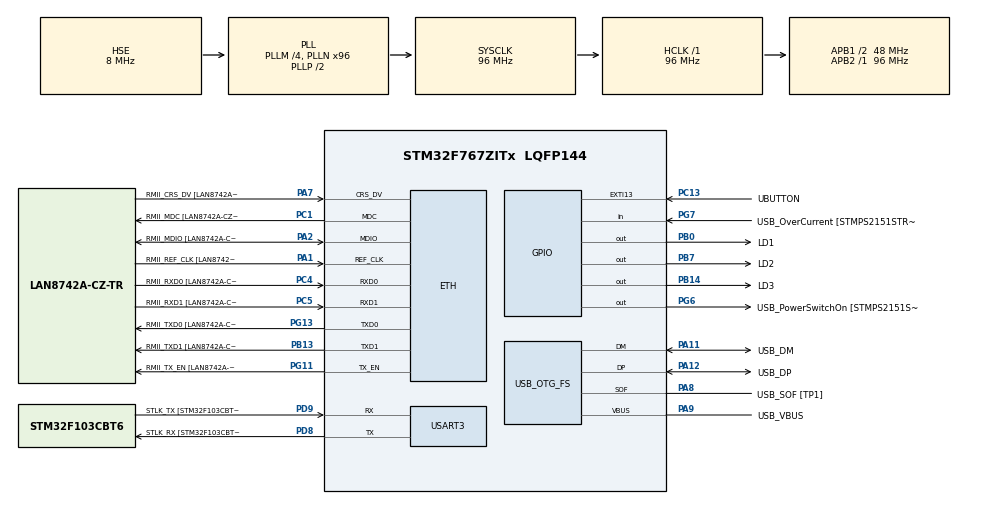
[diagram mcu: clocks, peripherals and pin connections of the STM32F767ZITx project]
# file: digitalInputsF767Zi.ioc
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ETH.MediaInterface=HAL_ETH_RMII_MODE
ETH.PHY_Name=LAN8742A_PHY_ADDRESS
ETH.PHY_Value=0
ETH.PhyAddress=0
Mcu.Family=STM32F7
Mcu.Name=STM32F767ZITx
Mcu.Package=LQFP144
NVIC.PriorityGroup=NVIC_PRIORITYGROUP_4
PA1.GPIO_Label=RMII_REF_CLK [LAN8742A-CZ-TR_REFCLK0]
PA1.Mode=RMII
PA1.Signal=ETH_REF_CLK
PA10.GPIO_Label=USB_ID
PA10.Signal=USB_OTG_FS_ID
PA11.GPIO_Label=USB_DM
PA11.Mode=Device_Only
PA11.Signal=USB_OTG_FS_DM
PA12.GPIO_Label=USB_DP
PA12.Mode=Device_Only
PA12.Signal=USB_OTG_FS_DP
PA13.GPIO_Label=TMS
PA13.Mode=Serial_Wire
PA13.Signal=SYS_JTMS-SWDIO
PA14.GPIO_Label=TCK
PA14.Mode=Serial_Wire
PA14.Signal=SYS_JTCK-SWCLK
PA2.GPIO_Label=RMII_MDIO [LAN8742A-CZ-TR_MDIO]
PA2.Mode=RMII
PA2.Signal=ETH_MDIO
PA7.GPIO_Label=RMII_CRS_DV [LAN8742A-CZ-TR_CRS_DV]
PA7.Mode=RMII
PA7.Signal=ETH_CRS_DV
PA8.GPIO_Label=USB_SOF [TP1]
PA8.Mode=Activate_SOF_FS
PA8.Signal=USB_OTG_FS_SOF
PA9.GPIO_Label=USB_VBUS
PA9.Mode=Activate_VBUS
PA9.Signal=USB_OTG_FS_VBUS
PB0.GPIO_Label=LD1
PB0.Signal=GPIO_Output
PB13.GPIO_Label=RMII_TXD1 [LAN8742A-CZ-TR_TXD1]
PB13.Mode=RMII
PB13.Signal=ETH_TXD1
PB14.GPIO_Label=LD3
PB14.Signal=GPIO_Output
PB3.GPIO_Label=SWO
PB3.Signal=SYS_JTDO-SWO
PB7.GPIO_Label=LD2
PB7.Signal=GPIO_Output
PC1.GPIO_Label=RMII_MDC [LAN8742A-CZ-TR_MDC]
PC1.Mode=RMII
PC1.Signal=ETH_MDC
PC13.GPIO_Label=UBUTTON
PC13.Signal=GPXTI13
PC14/OSC32_IN.Mode=LSE-External-Oscillator
PC14/OSC32_IN.Signal=RCC_OSC32_IN
PC15/OSC32_OUT.Mode=LSE-External-Oscillator
PC15/OSC32_OUT.Signal=RCC_OSC32_OUT
PC4.GPIO_Label=RMII_RXD0 [LAN8742A-CZ-TR_RXD0]
PC4.Mode=RMII
PC4.Signal=ETH_RXD0
PC5.GPIO_Label=RMII_RXD1 [LAN8742A-CZ-TR_RXD1]
PC5.Mode=RMII
PC5.Signal=ETH_RXD1
PD8.GPIO_Label=STLK_RX [STM32F103CBT6_PA3]
PD8.Mode=Asynchronous
PD8.Signal=USART3_TX
PD9.GPIO_Label=STLK_TX [STM32F103CBT6_PA2]
PD9.Mode=Asynchronous
PD9.Signal=USART3_RX
PG11.GPIO_Label=RMII_TX_EN [LAN8742A-CZ-TR_TXEN]
PG11.Mode=RMII
PG11.Signal=ETH_TX_EN
PG13.GPIO_Label=RMII_TXD0 [LAN8742A-CZ-TR_TXD0]
PG13.Mode=RMII
PG13.Signal=ETH_TXD0
PG6.GPIO_Label=USB_PowerSwitchOn [STMPS2151STR_EN]
PG6.Signal=GPIO_Output
PG7.GPIO_Label=USB_OverCurrent [STMPS2151STR_FAULT]
PG7.Signal=GPIO_Input
PH0/OSC_IN.GPIO_Label=MCO [STM32F103CBT6_PA8]
PH0/OSC_IN.Mode=HSE-External-Clock-Source
PH0/OSC_IN.Signal=RCC_OSC_IN
PH1/OSC_OUT.Mode=HSE-External-Clock-Source
PH1/OSC_OUT.Signal=RCC_OSC_OUT
ProjectManager.HeapSize=0x200
ProjectManager.StackSize=0x400
ProjectManager.TargetToolchain=STM32CubeIDE
RCC.48MHZClocksFreq_Value=24000000
RCC.AHBFreq_Value=96000000
RCC.APB1CLKDivider=RCC_HCLK_DIV2
RCC.APB1Freq_Value=48000000
RCC.APB1TimFreq_Value=96000000
RCC.APB2Freq_Value=96000000
RCC.APB2TimFreq_Value=96000000
RCC.CortexFreq_Value=96000000
RCC.HCLKFreq_Value=96000000
RCC.HSE_VALUE=8000000
RCC.HSI_VALUE=16000000
RCC.PLLM=4
RCC.PLLMUL=RCC_PLL_MUL9
RCC.PLLN=96
RCC.PLLQ=4
RCC.PRESCALERUSB=RCC_USBCLKSOURCE_PLL_DIV1_5
RCC.SYSCLKFreq_VALUE=96000000
RCC.SYSCLKSource=RCC_SYSCLKSOURCE_PLLCLK
RCC.SYSCLKSourceVirtual=RCC_SYSCLKSOURCE_PLLCLK
RCC.USBFreq_Value=48000000
RCC.VCOOutputFreq_Value=192000000
USART3.VirtualMode-Asynchronous=VM_ASYNC
USB_OTG_FS.VirtualMode=Device_Only
board=NUCLEO-F767ZI

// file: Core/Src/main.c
/* USER CODE BEGIN Header */
/**
  ******************************************************************************
  * @file           : main.c
  * @brief          : Main program body
  ******************************************************************************
  * @attention
  *
  * Copyright (c) 2025 STMicroelectronics.
  * All rights reserved.
  *
  * This software is licensed under terms that can be found in the LICENSE file
  * in the root directory of this software component.
  * If no LICENSE file comes with this software, it is provided AS-IS.
  *
  ******************************************************************************
  */
/* USER CODE END Header */
#include "main.h"
#include "string.h"

/* USER CODE BEGIN PD */
#define DB_TIME 195
/* USER CODE END PD */

#if defined ( __ICCARM__ ) /*!< IAR Compiler */
#pragma location=0x2007c000
ETH_DMADescTypeDef  DMARxDscrTab[ETH_RX_DESC_CNT]; /* Ethernet Rx DMA Descriptors */
#pragma location=0x2007c0a0
ETH_DMADescTypeDef  DMATxDscrTab[ETH_TX_DESC_CNT]; /* Ethernet Tx DMA Descriptors */

#elif defined ( __CC_ARM )  /* MDK ARM Compiler */

__attribute__((at(0x2007c000))) ETH_DMADescTypeDef  DMARxDscrTab[ETH_RX_DESC_CNT]; /* Ethernet Rx DMA Descriptors */
__attribute__((at(0x2007c0a0))) ETH_DMADescTypeDef  DMATxDscrTab[ETH_TX_DESC_CNT]; /* Ethernet Tx DMA Descriptors */

#elif defined ( __GNUC__ ) /* GNU Compiler */

ETH_DMADescTypeDef DMARxDscrTab[ETH_RX_DESC_CNT] __attribute__((section(".RxDecripSection"))); /* Ethernet Rx DMA Descriptors */
ETH_DMADescTypeDef DMATxDscrTab[ETH_TX_DESC_CNT] __attribute__((section(".TxDecripSection")));   /* Ethernet Tx DMA Descriptors */
#endif

ETH_TxPacketConfig TxConfig;

ETH_HandleTypeDef heth;

UART_HandleTypeDef huart3;

PCD_HandleTypeDef hpcd_USB_OTG_FS;

/* USER CODE BEGIN PV */
uint8_t c=0;
unsigned long lastState=0;
/* USER CODE END PV */

void SystemClock_Config(void);
static void MX_GPIO_Init(void);
static void MX_ETH_Init(void);
static void MX_USART3_UART_Init(void);
static void MX_USB_OTG_FS_PCD_Init(void);
/* USER CODE BEGIN PFP */
void updateLed(uint8_t counter);
/* USER CODE END PFP */

int main(void)
{

  /* MCU Configuration--------------------------------------------------------*/

  /* Reset of all peripherals, Initializes the Flash interface and the Systick. */
  HAL_Init();

  /* Configure the system clock */
  SystemClock_Config();

  /* Initialize all configured peripherals */
  MX_GPIO_Init();
  MX_ETH_Init();
  MX_USART3_UART_Init();
  MX_USB_OTG_FS_PCD_Init();

  /* Infinite loop */
  /* USER CODE BEGIN WHILE */
  while (1)
  {
	  if(HAL_GPIO_ReadPin(UBUTTON_GPIO_Port, UBUTTON_Pin) == 0){
	  		  if ((HAL_GetTick() - lastState) > DB_TIME){
	  			  c++;
	  			  if (c>3) {c=1;}
	    			  updateLed(c);
	  	  		  }
	    		  lastState=HAL_GetTick();
	  }
    /* USER CODE END WHILE */

  }
}

void SystemClock_Config(void)
{
  RCC_OscInitTypeDef RCC_OscInitStruct = {0};
  RCC_ClkInitTypeDef RCC_ClkInitStruct = {0};

  /** Configure LSE Drive Capability
  */
  HAL_PWR_EnableBkUpAccess();

  /** Configure the main internal regulator output voltage
  */
  __HAL_RCC_PWR_CLK_ENABLE();
  __HAL_PWR_VOLTAGESCALING_CONFIG(PWR_REGULATOR_VOLTAGE_SCALE3);

  /** Initializes the RCC Oscillators according to the specified parameters
  * in the RCC_OscInitTypeDef structure.
  */
  RCC_OscInitStruct.OscillatorType = RCC_OSCILLATORTYPE_HSE;
  RCC_OscInitStruct.HSEState = RCC_HSE_BYPASS;
  RCC_OscInitStruct.PLL.PLLState = RCC_PLL_ON;
  RCC_OscInitStruct.PLL.PLLSource = RCC_PLLSOURCE_HSE;
  RCC_OscInitStruct.PLL.PLLM = 4;
  RCC_OscInitStruct.PLL.PLLN = 96;
  RCC_OscInitStruct.PLL.PLLP = RCC_PLLP_DIV2;
  RCC_OscInitStruct.PLL.PLLQ = 4;
  RCC_OscInitStruct.PLL.PLLR = 2;
  if (HAL_RCC_OscConfig(&RCC_OscInitStruct) != HAL_OK)
  {
    Error_Handler();
  }

  /** Activate the Over-Drive mode
  */
  if (HAL_PWREx_EnableOverDrive() != HAL_OK)
  {
    Error_Handler();
  }

  /** Initializes the CPU, AHB and APB buses clocks
  */
  RCC_ClkInitStruct.ClockType = RCC_CLOCKTYPE_HCLK|RCC_CLOCKTYPE_SYSCLK
                              |RCC_CLOCKTYPE_PCLK1|RCC_CLOCKTYPE_PCLK2;
  RCC_ClkInitStruct.SYSCLKSource = RCC_SYSCLKSOURCE_PLLCLK;
  RCC_ClkInitStruct.AHBCLKDivider = RCC_SYSCLK_DIV1;
  RCC_ClkInitStruct.APB1CLKDivider = RCC_HCLK_DIV2;
  RCC_ClkInitStruct.APB2CLKDivider = RCC_HCLK_DIV1;

  if (HAL_RCC_ClockConfig(&RCC_ClkInitStruct, FLASH_LATENCY_3) != HAL_OK)
  {
    Error_Handler();
  }
}

static void MX_ETH_Init(void)
{

   static uint8_t MACAddr[6];

  heth.Instance = ETH;
  MACAddr[0] = 0x00;
  MACAddr[1] = 0x80;
  MACAddr[2] = 0xE1;
  MACAddr[3] = 0x00;
  MACAddr[4] = 0x00;
  MACAddr[5] = 0x00;
  heth.Init.MACAddr = &MACAddr[0];
  heth.Init.MediaInterface = HAL_ETH_RMII_MODE;
  heth.Init.TxDesc = DMATxDscrTab;
  heth.Init.RxDesc = DMARxDscrTab;
  heth.Init.RxBuffLen = 1524;

  if (HAL_ETH_Init(&heth) != HAL_OK)
  {
    Error_Handler();
  }

  memset(&TxConfig, 0 , sizeof(ETH_TxPacketConfig));
  TxConfig.Attributes = ETH_TX_PACKETS_FEATURES_CSUM | ETH_TX_PACKETS_FEATURES_CRCPAD;
  TxConfig.ChecksumCtrl = ETH_CHECKSUM_IPHDR_PAYLOAD_INSERT_PHDR_CALC;
  TxConfig.CRCPadCtrl = ETH_CRC_PAD_INSERT;

}

static void MX_USART3_UART_Init(void)
{

  huart3.Instance = USART3;
  huart3.Init.BaudRate = 115200;
  huart3.Init.WordLength = UART_WORDLENGTH_8B;
  huart3.Init.StopBits = UART_STOPBITS_1;
  huart3.Init.Parity = UART_PARITY_NONE;
  huart3.Init.Mode = UART_MODE_TX_RX;
  huart3.Init.HwFlowCtl = UART_HWCONTROL_NONE;
  huart3.Init.OverSampling = UART_OVERSAMPLING_16;
  huart3.Init.OneBitSampling = UART_ONE_BIT_SAMPLE_DISABLE;
  huart3.AdvancedInit.AdvFeatureInit = UART_ADVFEATURE_NO_INIT;
  if (HAL_UART_Init(&huart3) != HAL_OK)
  {
    Error_Handler();
  }

}

static void MX_USB_OTG_FS_PCD_Init(void)
{

  hpcd_USB_OTG_FS.Instance = USB_OTG_FS;
  hpcd_USB_OTG_FS.Init.dev_endpoints = 6;
  hpcd_USB_OTG_FS.Init.speed = PCD_SPEED_FULL;
  hpcd_USB_OTG_FS.Init.dma_enable = DISABLE;
  hpcd_USB_OTG_FS.Init.phy_itface = PCD_PHY_EMBEDDED;
  hpcd_USB_OTG_FS.Init.Sof_enable = ENABLE;
  hpcd_USB_OTG_FS.Init.low_power_enable = DISABLE;
  hpcd_USB_OTG_FS.Init.lpm_enable = DISABLE;
  hpcd_USB_OTG_FS.Init.vbus_sensing_enable = ENABLE;
  hpcd_USB_OTG_FS.Init.use_dedicated_ep1 = DISABLE;
  if (HAL_PCD_Init(&hpcd_USB_OTG_FS) != HAL_OK)
  {
    Error_Handler();
  }

}

static void MX_GPIO_Init(void)
{
  GPIO_InitTypeDef GPIO_InitStruct = {0};

  /* GPIO Ports Clock Enable */
  __HAL_RCC_GPIOC_CLK_ENABLE();
  __HAL_RCC_GPIOH_CLK_ENABLE();
  __HAL_RCC_GPIOA_CLK_ENABLE();
  __HAL_RCC_GPIOB_CLK_ENABLE();
  __HAL_RCC_GPIOD_CLK_ENABLE();
  __HAL_RCC_GPIOG_CLK_ENABLE();

  /*Configure GPIO pin Output Level */
  HAL_GPIO_WritePin(GPIOB, LD1_Pin|LD3_Pin|LD2_Pin, GPIO_PIN_RESET);

  /*Configure GPIO pin Output Level */
  HAL_GPIO_WritePin(USB_PowerSwitchOn_GPIO_Port, USB_PowerSwitchOn_Pin, GPIO_PIN_RESET);

  /*Configure GPIO pin : UBUTTON_Pin */
  GPIO_InitStruct.Pin = UBUTTON_Pin;
  GPIO_InitStruct.Mode = GPIO_MODE_IT_RISING;
  GPIO_InitStruct.Pull = GPIO_NOPULL;
  HAL_GPIO_Init(UBUTTON_GPIO_Port, &GPIO_InitStruct);

  /*Configure GPIO pins : LD1_Pin LD3_Pin LD2_Pin */
  GPIO_InitStruct.Pin = LD1_Pin|LD3_Pin|LD2_Pin;
  GPIO_InitStruct.Mode = GPIO_MODE_OUTPUT_PP;
  GPIO_InitStruct.Pull = GPIO_NOPULL;
  GPIO_InitStruct.Speed = GPIO_SPEED_FREQ_LOW;
  HAL_GPIO_Init(GPIOB, &GPIO_InitStruct);

  /*Configure GPIO pin : USB_PowerSwitchOn_Pin */
  GPIO_InitStruct.Pin = USB_PowerSwitchOn_Pin;
  GPIO_InitStruct.Mode = GPIO_MODE_OUTPUT_PP;
  GPIO_InitStruct.Pull = GPIO_NOPULL;
  GPIO_InitStruct.Speed = GPIO_SPEED_FREQ_LOW;
  HAL_GPIO_Init(USB_PowerSwitchOn_GPIO_Port, &GPIO_InitStruct);

  /*Configure GPIO pin : USB_OverCurrent_Pin */
  GPIO_InitStruct.Pin = USB_OverCurrent_Pin;
  GPIO_InitStruct.Mode = GPIO_MODE_INPUT;
  GPIO_InitStruct.Pull = GPIO_NOPULL;
  HAL_GPIO_Init(USB_OverCurrent_GPIO_Port, &GPIO_InitStruct);

}

/* USER CODE BEGIN 4 */
void updateLed(uint8_t counter){
    switch(counter){
        case 1:
            HAL_GPIO_WritePin(LD1_GPIO_Port, LD1_Pin, GPIO_PIN_SET);
            HAL_GPIO_WritePin(LD2_GPIO_Port, LD2_Pin, GPIO_PIN_RESET);
            HAL_GPIO_WritePin(LD3_GPIO_Port, LD3_Pin, GPIO_PIN_RESET);
            break;
        case 2:
            HAL_GPIO_WritePin(LD1_GPIO_Port, LD1_Pin, GPIO_PIN_RESET);
            HAL_GPIO_WritePin(LD2_GPIO_Port, LD2_Pin, GPIO_PIN_SET);
            HAL_GPIO_WritePin(LD3_GPIO_Port, LD3_Pin, GPIO_PIN_RESET);
            break;
        case 3	:
            HAL_GPIO_WritePin(LD1_GPIO_Port, LD1_Pin, GPIO_PIN_RESET);
            HAL_GPIO_WritePin(LD2_GPIO_Port, LD2_Pin, GPIO_PIN_RESET);
            HAL_GPIO_WritePin(LD3_GPIO_Port, LD3_Pin, GPIO_PIN_SET);
            break;
        default: break;
    }
}
/* USER CODE END 4 */

void Error_Handler(void)
{
  __disable_irq();
  while (1)
  {
  }
}
